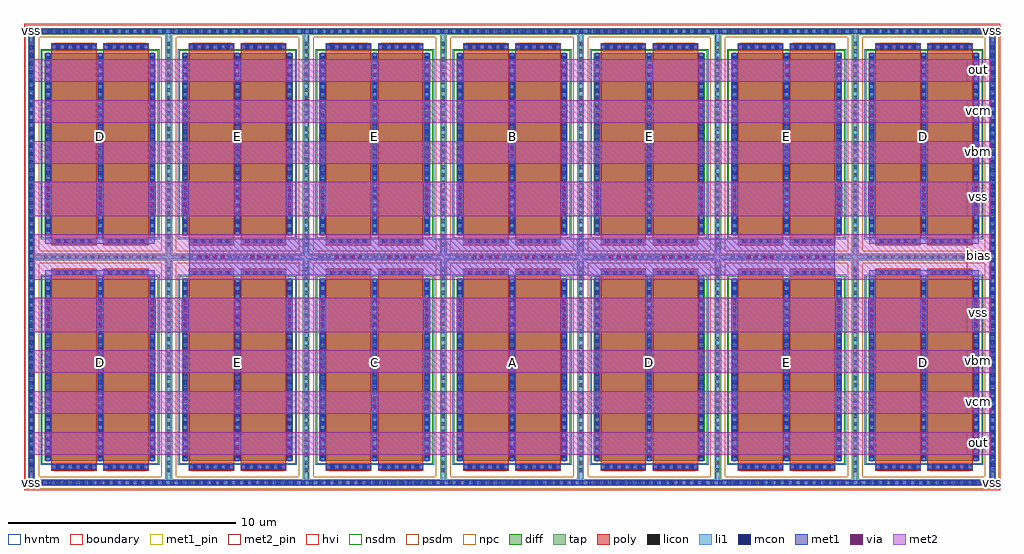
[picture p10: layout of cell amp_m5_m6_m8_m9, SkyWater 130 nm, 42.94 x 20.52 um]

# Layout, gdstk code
from math import pi, radians
import gdstk
lib = gdstk.Library(unit=1e-6, precision=1e-09)
def R(c, l, rs):  # rectangles x0, y0, x1, y1
    for r in rs: c.add(gdstk.rectangle(r[:2], r[2:], *l))
def A(c, l, x, y, w, h, nx, ny, dx, dy):  # array of equal rectangles
    R(c, l, [(x+i*dx, y+j*dy, x+i*dx+w, y+j*dy+h) for i in range(nx) for j in range(ny)])
def P(c, l, *ps):  # polygons
    for p in ps: c.add(gdstk.Polygon(p, *l))
diff = (65, 20)
tap = (65, 44)
poly = (66, 20)
licon = (66, 44)
li1 = (67, 20)
mcon = (67, 44)
met1_pin = (68, 16)
met1 = (68, 20)
via = (68, 44)
met2_pin = (69, 16)
met2 = (69, 20)
hvi = (75, 20)
nsdm = (93, 44)
psdm = (94, 20)
npc = (95, 20)
hvntm = (125, 20)
boundary = (235, 4)

via__li_m1 = lib.new_cell('via__LI_M1')
R(via__li_m1, li1, [(0.03,0.03,0.56,0.2)])
R(via__li_m1, mcon, [(0.03,0.03,0.2,0.2), (0.39,0.03,0.56,0.2)])
R(via__li_m1, met1, [(0,0,0.59,0.23)])

via__m1_m2 = lib.new_cell('via__M1_M2')
R(via__m1_m2, met1, [(0,0.05,0.7,0.35)])
R(via__m1_m2, via, [(0.115,0.125,0.265,0.275), (0.435,0.125,0.585,0.275)])
R(via__m1_m2, met2, [(0.05,0,0.65,0.4)])

sky130_fd_pr__nfet_g5v0d = lib.new_cell('sky130_fd_pr__nfet_g5v0d10v5_58GJTY')
R(sky130_fd_pr__nfet_g5v0d, diff, [(0.915,1.295,5.785,9.295)])
R(sky130_fd_pr__nfet_g5v0d, tap, [(0.185,0.185,6.515,0.475), (0.185,0.475,0.475,10.115), (6.225,0.475,6.515,10.115), (0.185,10.115,6.515,10.405)])
R(sky130_fd_pr__nfet_g5v0d, poly, [(1.205,0.855,3.205,9.735), (3.495,0.855,5.495,9.735)])
A(sky130_fd_pr__nfet_g5v0d, licon, 0.885, 0.245, 0.17, 0.17, 15, 2, 0.34, 9.93)
A(sky130_fd_pr__nfet_g5v0d, licon, 0.245, 0.79, 0.17, 0.17, 1, 27, 0, 0.34)
A(sky130_fd_pr__nfet_g5v0d, licon, 6.285, 0.79, 0.17, 0.17, 1, 27, 0, 0.34)
A(sky130_fd_pr__nfet_g5v0d, licon, 1.44, 0.935, 0.17, 0.17, 5, 2, 0.34, 8.55)
A(sky130_fd_pr__nfet_g5v0d, licon, 3.73, 0.935, 0.17, 0.17, 5, 2, 0.34, 8.55)
A(sky130_fd_pr__nfet_g5v0d, licon, 0.975, 1.47, 0.17, 0.17, 3, 23, 2.29, 0.34)
A(sky130_fd_pr__nfet_g5v0d, li1, 0.975, 1.275, 0.17, 8.04, 3, 1, 2.29, 0)
R(sky130_fd_pr__nfet_g5v0d, li1, [(0.245,0.245,6.455,0.415), (0.245,0.415,0.415,10.175), (6.285,0.415,6.455,10.175), (1.205,0.935,3.205,1.105), (3.495,0.935,5.495,1.105), (1.205,9.485,3.205,9.655), (3.495,9.485,5.495,9.655), (0.245,10.175,6.455,10.345)])
A(sky130_fd_pr__nfet_g5v0d, mcon, 1.4, 0.935, 0.17, 0.17, 5, 2, 0.36, 8.55)
A(sky130_fd_pr__nfet_g5v0d, mcon, 3.69, 0.935, 0.17, 0.17, 5, 2, 0.36, 8.55)
A(sky130_fd_pr__nfet_g5v0d, mcon, 0.975, 1.43, 0.17, 0.17, 3, 22, 2.29, 0.36)
A(sky130_fd_pr__nfet_g5v0d, met1, 0.945, 1.295, 0.23, 8, 3, 1, 2.29, 0)
R(sky130_fd_pr__nfet_g5v0d, met1, [(1.225,0.905,3.185,1.135), (3.515,0.905,5.475,1.135), (1.225,9.455,3.185,9.685), (3.515,9.455,5.475,9.685)])
R(sky130_fd_pr__nfet_g5v0d, hvi, [(0,0,6.7,10.59)])
R(sky130_fd_pr__nfet_g5v0d, nsdm, [(0.79,1.17,5.91,9.42)])
R(sky130_fd_pr__nfet_g5v0d, psdm, [(0.06,0.06,6.64,0.6), (0.06,0.6,0.66,9.99), (6.04,0.6,6.64,9.99), (0.06,9.99,6.64,10.53)])
R(sky130_fd_pr__nfet_g5v0d, npc, [(1.34,0.835,3.07,1.205), (3.63,0.835,5.36,1.205), (1.34,9.385,3.07,9.755), (3.63,9.385,5.36,9.755)])
R(sky130_fd_pr__nfet_g5v0d, hvntm, [(0.73,1.11,5.97,9.48)])
R(sky130_fd_pr__nfet_g5v0d, boundary, [(0.33,0.33,6.37,10.26)])

amp_m5_m6_m8_m9 = lib.new_cell('amp_m5_m6_m8_m9')
R(amp_m5_m6_m8_m9, met1_pin, [(0.215,0.215,0.445,0.445), (42.495,0.215,42.725,0.445), (0.215,20.075,0.445,20.305), (42.495,20.075,42.725,20.305)])
R(amp_m5_m6_m8_m9, met1, [(0.215,0.215,0.445,20.305), (0.215,0.215,42.725,0.445), (42.495,0.215,42.725,20.305), (21.355,9.295,21.585,9.455), (7.265,9.455,35.675,11.065), (0.215,20.075,42.725,20.305)])
P(amp_m5_m6_m8_m9, met1, [(5.475,10.835),(5.475,11.065),(5.525,11.065),(5.525,11.225),(5.755,11.225),(5.755,10.835)],
  [(41.715,10.835),(41.715,11.065),(41.765,11.065),(41.765,11.225),(41.995,11.225),(41.995,10.835)],
  [(3.185,10.835),(3.185,11.065),(3.235,11.065),(3.235,11.225),(3.465,11.225),(3.465,11.065),(3.515,11.065),(3.515,10.835)],
  [(39.425,10.835),(39.425,11.065),(39.475,11.065),(39.475,11.225),(39.705,11.225),(39.705,11.065),(39.755,11.065),(39.755,10.835)],
  [(0.945,10.835),(0.945,11.225),(1.175,11.225),(1.175,11.065),(1.225,11.065),(1.225,10.835)],
  [(37.185,10.835),(37.185,11.225),(37.415,11.225),(37.415,11.065),(37.465,11.065),(37.465,10.835)],
  [(5.525,9.295),(5.525,9.455),(5.475,9.455),(5.475,9.685),(5.755,9.685),(5.755,9.295)],
  [(29.685,9.295),(29.685,9.455),(29.635,9.455),(29.635,9.685),(29.915,9.685),(29.915,9.295)],
  [(41.765,9.295),(41.765,9.455),(41.715,9.455),(41.715,9.685),(41.995,9.685),(41.995,9.295)],
  [(3.235,9.295),(3.235,9.455),(3.185,9.455),(3.185,9.685),(3.515,9.685),(3.515,9.455),(3.465,9.455),(3.465,9.295)],
  [(27.395,9.295),(27.395,9.455),(27.345,9.455),(27.345,9.685),(27.675,9.685),(27.675,9.455),(27.625,9.455),(27.625,9.295)],
  [(39.475,9.295),(39.475,9.455),(39.425,9.455),(39.425,9.685),(39.755,9.685),(39.755,9.455),(39.705,9.455),(39.705,9.295)],
  [(0.945,9.295),(0.945,9.685),(1.225,9.685),(1.225,9.455),(1.175,9.455),(1.175,9.295)],
  [(25.105,9.295),(25.105,9.685),(25.385,9.685),(25.385,9.455),(25.335,9.455),(25.335,9.295)],
  [(37.185,9.295),(37.185,9.685),(37.465,9.685),(37.465,9.455),(37.415,9.455),(37.415,9.295)])
A(amp_m5_m6_m8_m9, met2_pin, 41.475, 1.56, 1.05, 1, 1, 3, 0, 1.8)
A(amp_m5_m6_m8_m9, met2_pin, 41.475, 14.36, 1.05, 1, 1, 3, 0, 1.8)
R(amp_m5_m6_m8_m9, met2_pin, [(41.475,6.96,42.525,8.46), (41.475,9.26,42.525,11.26), (41.475,12.06,42.525,13.56)])
A(amp_m5_m6_m8_m9, met2, 0.415, 1.56, 42.11, 1, 1, 3, 0, 1.8)
A(amp_m5_m6_m8_m9, met2, 0.415, 14.36, 42.11, 1, 1, 3, 0, 1.8)
R(amp_m5_m6_m8_m9, met2, [(0.415,6.96,42.525,8.46), (0.415,6.96,42.525,8.46), (0.415,9.26,42.525,11.26), (0.415,12.06,42.525,13.56), (0.415,12.06,42.525,13.56)])
amp_m5_m6_m8_m9.add(gdstk.Reference(via__li_m1, (0.215,1.59), rotation=3*pi/2))
amp_m5_m6_m8_m9.add(gdstk.Reference(via__li_m1, (42.495,1.59), rotation=3*pi/2))
amp_m5_m6_m8_m9.add(gdstk.Reference(via__li_m1, (0.215,2.31), rotation=3*pi/2))
amp_m5_m6_m8_m9.add(gdstk.Reference(via__li_m1, (42.495,2.31), rotation=3*pi/2))
amp_m5_m6_m8_m9.add(gdstk.Reference(via__li_m1, (0.215,3.03), rotation=3*pi/2))
amp_m5_m6_m8_m9.add(gdstk.Reference(via__li_m1, (42.495,3.03), rotation=3*pi/2))
amp_m5_m6_m8_m9.add(gdstk.Reference(via__li_m1, (0.215,3.75), rotation=3*pi/2))
amp_m5_m6_m8_m9.add(gdstk.Reference(via__li_m1, (42.495,3.75), rotation=3*pi/2))
amp_m5_m6_m8_m9.add(gdstk.Reference(via__li_m1, (0.215,4.47), rotation=3*pi/2))
amp_m5_m6_m8_m9.add(gdstk.Reference(via__li_m1, (42.495,4.47), rotation=3*pi/2))
amp_m5_m6_m8_m9.add(gdstk.Reference(via__li_m1, (0.215,5.19), rotation=3*pi/2))
amp_m5_m6_m8_m9.add(gdstk.Reference(via__li_m1, (42.495,5.19), rotation=3*pi/2))
amp_m5_m6_m8_m9.add(gdstk.Reference(via__li_m1, (0.215,5.91), rotation=3*pi/2))
amp_m5_m6_m8_m9.add(gdstk.Reference(via__li_m1, (42.495,5.91), rotation=3*pi/2))
amp_m5_m6_m8_m9.add(gdstk.Reference(via__li_m1, (0.215,6.63), rotation=3*pi/2))
amp_m5_m6_m8_m9.add(gdstk.Reference(via__li_m1, (42.495,6.63), rotation=3*pi/2))
amp_m5_m6_m8_m9.add(gdstk.Reference(via__li_m1, (0.215,7.35), rotation=3*pi/2))
amp_m5_m6_m8_m9.add(gdstk.Reference(via__li_m1, (42.495,7.35), rotation=3*pi/2))
amp_m5_m6_m8_m9.add(gdstk.Reference(via__li_m1, (0.215,8.07), rotation=3*pi/2))
amp_m5_m6_m8_m9.add(gdstk.Reference(via__li_m1, (42.495,8.07), rotation=3*pi/2))
amp_m5_m6_m8_m9.add(gdstk.Reference(via__li_m1, (0.215,8.79), rotation=3*pi/2))
amp_m5_m6_m8_m9.add(gdstk.Reference(via__li_m1, (42.495,8.79), rotation=3*pi/2))
amp_m5_m6_m8_m9.add(gdstk.Reference(via__li_m1, (0.215,9.51), rotation=3*pi/2))
amp_m5_m6_m8_m9.add(gdstk.Reference(via__li_m1, (42.495,9.51), rotation=3*pi/2))
amp_m5_m6_m8_m9.add(gdstk.Reference(via__li_m1, (0.215,10.23), rotation=3*pi/2))
amp_m5_m6_m8_m9.add(gdstk.Reference(via__li_m1, (42.495,10.23), rotation=3*pi/2))
amp_m5_m6_m8_m9.add(gdstk.Reference(via__li_m1, (0.215,10.95), rotation=3*pi/2))
amp_m5_m6_m8_m9.add(gdstk.Reference(via__li_m1, (42.495,10.95), rotation=3*pi/2))
amp_m5_m6_m8_m9.add(gdstk.Reference(via__li_m1, (0.215,11.67), rotation=3*pi/2))
amp_m5_m6_m8_m9.add(gdstk.Reference(via__li_m1, (42.495,11.67), rotation=3*pi/2))
amp_m5_m6_m8_m9.add(gdstk.Reference(via__li_m1, (0.215,12.39), rotation=3*pi/2))
amp_m5_m6_m8_m9.add(gdstk.Reference(via__li_m1, (42.495,12.39), rotation=3*pi/2))
amp_m5_m6_m8_m9.add(gdstk.Reference(via__li_m1, (0.215,13.11), rotation=3*pi/2))
amp_m5_m6_m8_m9.add(gdstk.Reference(via__li_m1, (42.495,13.11), rotation=3*pi/2))
amp_m5_m6_m8_m9.add(gdstk.Reference(via__li_m1, (0.215,13.83), rotation=3*pi/2))
amp_m5_m6_m8_m9.add(gdstk.Reference(via__li_m1, (42.495,13.83), rotation=3*pi/2))
amp_m5_m6_m8_m9.add(gdstk.Reference(via__li_m1, (0.215,14.55), rotation=3*pi/2))
amp_m5_m6_m8_m9.add(gdstk.Reference(via__li_m1, (42.495,14.55), rotation=3*pi/2))
amp_m5_m6_m8_m9.add(gdstk.Reference(via__li_m1, (0.215,15.27), rotation=3*pi/2))
amp_m5_m6_m8_m9.add(gdstk.Reference(via__li_m1, (42.495,15.27), rotation=3*pi/2))
amp_m5_m6_m8_m9.add(gdstk.Reference(via__li_m1, (0.215,15.99), rotation=3*pi/2))
amp_m5_m6_m8_m9.add(gdstk.Reference(via__li_m1, (42.495,15.99), rotation=3*pi/2))
amp_m5_m6_m8_m9.add(gdstk.Reference(via__li_m1, (0.215,16.71), rotation=3*pi/2))
amp_m5_m6_m8_m9.add(gdstk.Reference(via__li_m1, (42.495,16.71), rotation=3*pi/2))
amp_m5_m6_m8_m9.add(gdstk.Reference(via__li_m1, (0.215,17.43), rotation=3*pi/2))
amp_m5_m6_m8_m9.add(gdstk.Reference(via__li_m1, (42.495,17.43), rotation=3*pi/2))
amp_m5_m6_m8_m9.add(gdstk.Reference(via__li_m1, (0.215,18.15), rotation=3*pi/2))
amp_m5_m6_m8_m9.add(gdstk.Reference(via__li_m1, (42.495,18.15), rotation=3*pi/2))
amp_m5_m6_m8_m9.add(gdstk.Reference(via__li_m1, (0.215,18.87), rotation=3*pi/2))
amp_m5_m6_m8_m9.add(gdstk.Reference(via__li_m1, (42.495,18.87), rotation=3*pi/2))
amp_m5_m6_m8_m9.add(gdstk.Reference(via__li_m1, (0.215,19.59), rotation=3*pi/2))
amp_m5_m6_m8_m9.add(gdstk.Reference(via__li_m1, (42.495,19.59), rotation=3*pi/2))
amp_m5_m6_m8_m9.add(gdstk.Reference(via__li_m1, (0.645,0.215)))
amp_m5_m6_m8_m9.add(gdstk.Reference(via__li_m1, (1.365,0.215)))
amp_m5_m6_m8_m9.add(gdstk.Reference(via__li_m1, (2.085,0.215)))
amp_m5_m6_m8_m9.add(gdstk.Reference(via__li_m1, (2.805,0.215)))
amp_m5_m6_m8_m9.add(gdstk.Reference(via__li_m1, (3.525,0.215)))
amp_m5_m6_m8_m9.add(gdstk.Reference(via__li_m1, (4.245,0.215)))
amp_m5_m6_m8_m9.add(gdstk.Reference(via__li_m1, (4.965,0.215)))
amp_m5_m6_m8_m9.add(gdstk.Reference(via__li_m1, (5.685,0.215)))
amp_m5_m6_m8_m9.add(gdstk.Reference(via__li_m1, (6.405,0.215)))
amp_m5_m6_m8_m9.add(gdstk.Reference(via__li_m1, (7.125,0.215)))
amp_m5_m6_m8_m9.add(gdstk.Reference(via__li_m1, (7.845,0.215)))
amp_m5_m6_m8_m9.add(gdstk.Reference(via__li_m1, (8.565,0.215)))
amp_m5_m6_m8_m9.add(gdstk.Reference(via__li_m1, (9.285,0.215)))
amp_m5_m6_m8_m9.add(gdstk.Reference(via__li_m1, (10.005,0.215)))
amp_m5_m6_m8_m9.add(gdstk.Reference(via__li_m1, (10.725,0.215)))
amp_m5_m6_m8_m9.add(gdstk.Reference(via__li_m1, (11.445,0.215)))
amp_m5_m6_m8_m9.add(gdstk.Reference(via__li_m1, (12.165,0.215)))
amp_m5_m6_m8_m9.add(gdstk.Reference(via__li_m1, (12.885,0.215)))
amp_m5_m6_m8_m9.add(gdstk.Reference(via__li_m1, (13.605,0.215)))
amp_m5_m6_m8_m9.add(gdstk.Reference(via__li_m1, (14.325,0.215)))
amp_m5_m6_m8_m9.add(gdstk.Reference(via__li_m1, (15.045,0.215)))
amp_m5_m6_m8_m9.add(gdstk.Reference(via__li_m1, (15.765,0.215)))
amp_m5_m6_m8_m9.add(gdstk.Reference(via__li_m1, (16.485,0.215)))
amp_m5_m6_m8_m9.add(gdstk.Reference(via__li_m1, (17.205,0.215)))
amp_m5_m6_m8_m9.add(gdstk.Reference(via__li_m1, (17.925,0.215)))
amp_m5_m6_m8_m9.add(gdstk.Reference(via__li_m1, (18.645,0.215)))
amp_m5_m6_m8_m9.add(gdstk.Reference(via__li_m1, (19.365,0.215)))
amp_m5_m6_m8_m9.add(gdstk.Reference(via__li_m1, (20.085,0.215)))
amp_m5_m6_m8_m9.add(gdstk.Reference(via__li_m1, (20.805,0.215)))
amp_m5_m6_m8_m9.add(gdstk.Reference(via__li_m1, (21.525,0.215)))
amp_m5_m6_m8_m9.add(gdstk.Reference(via__li_m1, (22.245,0.215)))
amp_m5_m6_m8_m9.add(gdstk.Reference(via__li_m1, (22.965,0.215)))
amp_m5_m6_m8_m9.add(gdstk.Reference(via__li_m1, (23.685,0.215)))
amp_m5_m6_m8_m9.add(gdstk.Reference(via__li_m1, (24.405,0.215)))
amp_m5_m6_m8_m9.add(gdstk.Reference(via__li_m1, (25.125,0.215)))
amp_m5_m6_m8_m9.add(gdstk.Reference(via__li_m1, (25.845,0.215)))
amp_m5_m6_m8_m9.add(gdstk.Reference(via__li_m1, (26.565,0.215)))
amp_m5_m6_m8_m9.add(gdstk.Reference(via__li_m1, (27.285,0.215)))
amp_m5_m6_m8_m9.add(gdstk.Reference(via__li_m1, (28.005,0.215)))
amp_m5_m6_m8_m9.add(gdstk.Reference(via__li_m1, (28.725,0.215)))
amp_m5_m6_m8_m9.add(gdstk.Reference(via__li_m1, (29.445,0.215)))
amp_m5_m6_m8_m9.add(gdstk.Reference(via__li_m1, (30.165,0.215)))
amp_m5_m6_m8_m9.add(gdstk.Reference(via__li_m1, (30.885,0.215)))
amp_m5_m6_m8_m9.add(gdstk.Reference(via__li_m1, (31.605,0.215)))
amp_m5_m6_m8_m9.add(gdstk.Reference(via__li_m1, (32.325,0.215)))
amp_m5_m6_m8_m9.add(gdstk.Reference(via__li_m1, (33.045,0.215)))
amp_m5_m6_m8_m9.add(gdstk.Reference(via__li_m1, (33.765,0.215)))
amp_m5_m6_m8_m9.add(gdstk.Reference(via__li_m1, (34.485,0.215)))
amp_m5_m6_m8_m9.add(gdstk.Reference(via__li_m1, (35.205,0.215)))
amp_m5_m6_m8_m9.add(gdstk.Reference(via__li_m1, (35.925,0.215)))
amp_m5_m6_m8_m9.add(gdstk.Reference(via__li_m1, (36.645,0.215)))
amp_m5_m6_m8_m9.add(gdstk.Reference(via__li_m1, (37.365,0.215)))
amp_m5_m6_m8_m9.add(gdstk.Reference(via__li_m1, (38.085,0.215)))
amp_m5_m6_m8_m9.add(gdstk.Reference(via__li_m1, (38.805,0.215)))
amp_m5_m6_m8_m9.add(gdstk.Reference(via__li_m1, (39.525,0.215)))
amp_m5_m6_m8_m9.add(gdstk.Reference(via__li_m1, (40.245,0.215)))
amp_m5_m6_m8_m9.add(gdstk.Reference(via__li_m1, (40.965,0.215)))
amp_m5_m6_m8_m9.add(gdstk.Reference(via__li_m1, (41.685,0.215)))
amp_m5_m6_m8_m9.add(gdstk.Reference(via__li_m1, (0.645,20.075)))
amp_m5_m6_m8_m9.add(gdstk.Reference(via__li_m1, (1.365,20.075)))
amp_m5_m6_m8_m9.add(gdstk.Reference(via__li_m1, (2.085,20.075)))
amp_m5_m6_m8_m9.add(gdstk.Reference(via__li_m1, (2.805,20.075)))
amp_m5_m6_m8_m9.add(gdstk.Reference(via__li_m1, (3.525,20.075)))
amp_m5_m6_m8_m9.add(gdstk.Reference(via__li_m1, (4.245,20.075)))
amp_m5_m6_m8_m9.add(gdstk.Reference(via__li_m1, (4.965,20.075)))
amp_m5_m6_m8_m9.add(gdstk.Reference(via__li_m1, (5.685,20.075)))
amp_m5_m6_m8_m9.add(gdstk.Reference(via__li_m1, (6.405,20.075)))
amp_m5_m6_m8_m9.add(gdstk.Reference(via__li_m1, (7.125,20.075)))
amp_m5_m6_m8_m9.add(gdstk.Reference(via__li_m1, (7.845,20.075)))
amp_m5_m6_m8_m9.add(gdstk.Reference(via__li_m1, (8.565,20.075)))
amp_m5_m6_m8_m9.add(gdstk.Reference(via__li_m1, (9.285,20.075)))
amp_m5_m6_m8_m9.add(gdstk.Reference(via__li_m1, (10.005,20.075)))
amp_m5_m6_m8_m9.add(gdstk.Reference(via__li_m1, (10.725,20.075)))
amp_m5_m6_m8_m9.add(gdstk.Reference(via__li_m1, (11.445,20.075)))
amp_m5_m6_m8_m9.add(gdstk.Reference(via__li_m1, (12.165,20.075)))
amp_m5_m6_m8_m9.add(gdstk.Reference(via__li_m1, (12.885,20.075)))
amp_m5_m6_m8_m9.add(gdstk.Reference(via__li_m1, (13.605,20.075)))
amp_m5_m6_m8_m9.add(gdstk.Reference(via__li_m1, (14.325,20.075)))
amp_m5_m6_m8_m9.add(gdstk.Reference(via__li_m1, (15.045,20.075)))
amp_m5_m6_m8_m9.add(gdstk.Reference(via__li_m1, (15.765,20.075)))
amp_m5_m6_m8_m9.add(gdstk.Reference(via__li_m1, (16.485,20.075)))
amp_m5_m6_m8_m9.add(gdstk.Reference(via__li_m1, (17.205,20.075)))
amp_m5_m6_m8_m9.add(gdstk.Reference(via__li_m1, (17.925,20.075)))
amp_m5_m6_m8_m9.add(gdstk.Reference(via__li_m1, (18.645,20.075)))
amp_m5_m6_m8_m9.add(gdstk.Reference(via__li_m1, (19.365,20.075)))
amp_m5_m6_m8_m9.add(gdstk.Reference(via__li_m1, (20.085,20.075)))
amp_m5_m6_m8_m9.add(gdstk.Reference(via__li_m1, (20.805,20.075)))
amp_m5_m6_m8_m9.add(gdstk.Reference(via__li_m1, (21.525,20.075)))
amp_m5_m6_m8_m9.add(gdstk.Reference(via__li_m1, (22.245,20.075)))
amp_m5_m6_m8_m9.add(gdstk.Reference(via__li_m1, (22.965,20.075)))
amp_m5_m6_m8_m9.add(gdstk.Reference(via__li_m1, (23.685,20.075)))
amp_m5_m6_m8_m9.add(gdstk.Reference(via__li_m1, (24.405,20.075)))
amp_m5_m6_m8_m9.add(gdstk.Reference(via__li_m1, (25.125,20.075)))
amp_m5_m6_m8_m9.add(gdstk.Reference(via__li_m1, (25.845,20.075)))
amp_m5_m6_m8_m9.add(gdstk.Reference(via__li_m1, (26.565,20.075)))
amp_m5_m6_m8_m9.add(gdstk.Reference(via__li_m1, (27.285,20.075)))
amp_m5_m6_m8_m9.add(gdstk.Reference(via__li_m1, (28.005,20.075)))
amp_m5_m6_m8_m9.add(gdstk.Reference(via__li_m1, (28.725,20.075)))
amp_m5_m6_m8_m9.add(gdstk.Reference(via__li_m1, (29.445,20.075)))
amp_m5_m6_m8_m9.add(gdstk.Reference(via__li_m1, (30.165,20.075)))
amp_m5_m6_m8_m9.add(gdstk.Reference(via__li_m1, (30.885,20.075)))
amp_m5_m6_m8_m9.add(gdstk.Reference(via__li_m1, (31.605,20.075)))
amp_m5_m6_m8_m9.add(gdstk.Reference(via__li_m1, (32.325,20.075)))
amp_m5_m6_m8_m9.add(gdstk.Reference(via__li_m1, (33.045,20.075)))
amp_m5_m6_m8_m9.add(gdstk.Reference(via__li_m1, (33.765,20.075)))
amp_m5_m6_m8_m9.add(gdstk.Reference(via__li_m1, (34.485,20.075)))
amp_m5_m6_m8_m9.add(gdstk.Reference(via__li_m1, (35.205,20.075)))
amp_m5_m6_m8_m9.add(gdstk.Reference(via__li_m1, (35.925,20.075)))
amp_m5_m6_m8_m9.add(gdstk.Reference(via__li_m1, (36.645,20.075)))
amp_m5_m6_m8_m9.add(gdstk.Reference(via__li_m1, (37.365,20.075)))
amp_m5_m6_m8_m9.add(gdstk.Reference(via__li_m1, (38.085,20.075)))
amp_m5_m6_m8_m9.add(gdstk.Reference(via__li_m1, (38.805,20.075)))
amp_m5_m6_m8_m9.add(gdstk.Reference(via__li_m1, (39.525,20.075)))
amp_m5_m6_m8_m9.add(gdstk.Reference(via__li_m1, (40.245,20.075)))
amp_m5_m6_m8_m9.add(gdstk.Reference(via__li_m1, (40.965,20.075)))
amp_m5_m6_m8_m9.add(gdstk.Reference(via__li_m1, (41.685,20.075)))
amp_m5_m6_m8_m9.add(gdstk.Reference(via__m1_m2, (9.19,2.41), rotation=3*pi/2))
amp_m5_m6_m8_m9.add(gdstk.Reference(via__m1_m2, (33.35,2.41), rotation=3*pi/2))
amp_m5_m6_m8_m9.add(gdstk.Reference(via__m1_m2, (15.23,4.21), rotation=3*pi/2))
amp_m5_m6_m8_m9.add(gdstk.Reference(via__m1_m2, (0.86,7.71), rotation=3*pi/2))
amp_m5_m6_m8_m9.add(gdstk.Reference(via__m1_m2, (3.15,7.71), rotation=3*pi/2))
amp_m5_m6_m8_m9.add(gdstk.Reference(via__m1_m2, (5.44,7.71), rotation=3*pi/2))
amp_m5_m6_m8_m9.add(gdstk.Reference(via__m1_m2, (6.9,7.71), rotation=3*pi/2))
amp_m5_m6_m8_m9.add(gdstk.Reference(via__m1_m2, (11.48,7.71), rotation=3*pi/2))
amp_m5_m6_m8_m9.add(gdstk.Reference(via__m1_m2, (12.94,7.71), rotation=3*pi/2))
amp_m5_m6_m8_m9.add(gdstk.Reference(via__m1_m2, (17.52,7.71), rotation=3*pi/2))
amp_m5_m6_m8_m9.add(gdstk.Reference(via__m1_m2, (18.98,7.71), rotation=3*pi/2))
amp_m5_m6_m8_m9.add(gdstk.Reference(via__m1_m2, (23.56,7.71), rotation=3*pi/2))
amp_m5_m6_m8_m9.add(gdstk.Reference(via__m1_m2, (31.06,7.71), rotation=3*pi/2))
amp_m5_m6_m8_m9.add(gdstk.Reference(via__m1_m2, (35.64,7.71), rotation=3*pi/2))
amp_m5_m6_m8_m9.add(gdstk.Reference(via__m1_m2, (37.1,7.71), rotation=3*pi/2))
amp_m5_m6_m8_m9.add(gdstk.Reference(via__m1_m2, (39.39,7.71), rotation=3*pi/2))
amp_m5_m6_m8_m9.add(gdstk.Reference(via__m1_m2, (41.68,7.71), rotation=3*pi/2))
amp_m5_m6_m8_m9.add(gdstk.Reference(via__m1_m2, (0.86,8.41), rotation=3*pi/2))
amp_m5_m6_m8_m9.add(gdstk.Reference(via__m1_m2, (3.15,8.41), rotation=3*pi/2))
amp_m5_m6_m8_m9.add(gdstk.Reference(via__m1_m2, (5.44,8.41), rotation=3*pi/2))
amp_m5_m6_m8_m9.add(gdstk.Reference(via__m1_m2, (6.9,8.41), rotation=3*pi/2))
amp_m5_m6_m8_m9.add(gdstk.Reference(via__m1_m2, (11.48,8.41), rotation=3*pi/2))
amp_m5_m6_m8_m9.add(gdstk.Reference(via__m1_m2, (12.94,8.41), rotation=3*pi/2))
amp_m5_m6_m8_m9.add(gdstk.Reference(via__m1_m2, (17.52,8.41), rotation=3*pi/2))
amp_m5_m6_m8_m9.add(gdstk.Reference(via__m1_m2, (18.98,8.41), rotation=3*pi/2))
amp_m5_m6_m8_m9.add(gdstk.Reference(via__m1_m2, (23.56,8.41), rotation=3*pi/2))
amp_m5_m6_m8_m9.add(gdstk.Reference(via__m1_m2, (31.06,8.41), rotation=3*pi/2))
amp_m5_m6_m8_m9.add(gdstk.Reference(via__m1_m2, (35.64,8.41), rotation=3*pi/2))
amp_m5_m6_m8_m9.add(gdstk.Reference(via__m1_m2, (37.1,8.41), rotation=3*pi/2))
amp_m5_m6_m8_m9.add(gdstk.Reference(via__m1_m2, (39.39,8.41), rotation=3*pi/2))
amp_m5_m6_m8_m9.add(gdstk.Reference(via__m1_m2, (41.68,8.41), rotation=3*pi/2))
amp_m5_m6_m8_m9.add(gdstk.Reference(via__m1_m2, (0.86,12.81), rotation=3*pi/2))
amp_m5_m6_m8_m9.add(gdstk.Reference(via__m1_m2, (3.15,12.81), rotation=3*pi/2))
amp_m5_m6_m8_m9.add(gdstk.Reference(via__m1_m2, (5.44,12.81), rotation=3*pi/2))
amp_m5_m6_m8_m9.add(gdstk.Reference(via__m1_m2, (6.9,12.81), rotation=3*pi/2))
amp_m5_m6_m8_m9.add(gdstk.Reference(via__m1_m2, (11.48,12.81), rotation=3*pi/2))
amp_m5_m6_m8_m9.add(gdstk.Reference(via__m1_m2, (12.94,12.81), rotation=3*pi/2))
amp_m5_m6_m8_m9.add(gdstk.Reference(via__m1_m2, (17.52,12.81), rotation=3*pi/2))
amp_m5_m6_m8_m9.add(gdstk.Reference(via__m1_m2, (18.98,12.81), rotation=3*pi/2))
amp_m5_m6_m8_m9.add(gdstk.Reference(via__m1_m2, (23.56,12.81), rotation=3*pi/2))
amp_m5_m6_m8_m9.add(gdstk.Reference(via__m1_m2, (25.02,12.81), rotation=3*pi/2))
amp_m5_m6_m8_m9.add(gdstk.Reference(via__m1_m2, (29.6,12.81), rotation=3*pi/2))
amp_m5_m6_m8_m9.add(gdstk.Reference(via__m1_m2, (31.06,12.81), rotation=3*pi/2))
amp_m5_m6_m8_m9.add(gdstk.Reference(via__m1_m2, (35.64,12.81), rotation=3*pi/2))
amp_m5_m6_m8_m9.add(gdstk.Reference(via__m1_m2, (37.1,12.81), rotation=3*pi/2))
amp_m5_m6_m8_m9.add(gdstk.Reference(via__m1_m2, (39.39,12.81), rotation=3*pi/2))
amp_m5_m6_m8_m9.add(gdstk.Reference(via__m1_m2, (41.68,12.81), rotation=3*pi/2))
amp_m5_m6_m8_m9.add(gdstk.Reference(via__m1_m2, (0.86,13.51), rotation=3*pi/2))
amp_m5_m6_m8_m9.add(gdstk.Reference(via__m1_m2, (3.15,13.51), rotation=3*pi/2))
amp_m5_m6_m8_m9.add(gdstk.Reference(via__m1_m2, (5.44,13.51), rotation=3*pi/2))
amp_m5_m6_m8_m9.add(gdstk.Reference(via__m1_m2, (6.9,13.51), rotation=3*pi/2))
amp_m5_m6_m8_m9.add(gdstk.Reference(via__m1_m2, (11.48,13.51), rotation=3*pi/2))
amp_m5_m6_m8_m9.add(gdstk.Reference(via__m1_m2, (12.94,13.51), rotation=3*pi/2))
amp_m5_m6_m8_m9.add(gdstk.Reference(via__m1_m2, (17.52,13.51), rotation=3*pi/2))
amp_m5_m6_m8_m9.add(gdstk.Reference(via__m1_m2, (18.98,13.51), rotation=3*pi/2))
amp_m5_m6_m8_m9.add(gdstk.Reference(via__m1_m2, (23.56,13.51), rotation=3*pi/2))
amp_m5_m6_m8_m9.add(gdstk.Reference(via__m1_m2, (25.02,13.51), rotation=3*pi/2))
amp_m5_m6_m8_m9.add(gdstk.Reference(via__m1_m2, (29.6,13.51), rotation=3*pi/2))
amp_m5_m6_m8_m9.add(gdstk.Reference(via__m1_m2, (31.06,13.51), rotation=3*pi/2))
amp_m5_m6_m8_m9.add(gdstk.Reference(via__m1_m2, (35.64,13.51), rotation=3*pi/2))
amp_m5_m6_m8_m9.add(gdstk.Reference(via__m1_m2, (37.1,13.51), rotation=3*pi/2))
amp_m5_m6_m8_m9.add(gdstk.Reference(via__m1_m2, (39.39,13.51), rotation=3*pi/2))
amp_m5_m6_m8_m9.add(gdstk.Reference(via__m1_m2, (41.68,13.51), rotation=3*pi/2))
amp_m5_m6_m8_m9.add(gdstk.Reference(via__m1_m2, (21.27,15.21), rotation=3*pi/2))
amp_m5_m6_m8_m9.add(gdstk.Reference(via__m1_m2, (9.19,18.81), rotation=3*pi/2))
amp_m5_m6_m8_m9.add(gdstk.Reference(via__m1_m2, (15.23,18.81), rotation=3*pi/2))
amp_m5_m6_m8_m9.add(gdstk.Reference(via__m1_m2, (27.31,18.81), rotation=3*pi/2))
amp_m5_m6_m8_m9.add(gdstk.Reference(via__m1_m2, (33.35,18.81), rotation=3*pi/2))
amp_m5_m6_m8_m9.add(gdstk.Reference(via__m1_m2, (8.245,10.46), rotation=pi))
amp_m5_m6_m8_m9.add(gdstk.Reference(via__m1_m2, (8.945,10.46), rotation=pi))
amp_m5_m6_m8_m9.add(gdstk.Reference(via__m1_m2, (10.535,10.46), rotation=pi))
amp_m5_m6_m8_m9.add(gdstk.Reference(via__m1_m2, (11.235,10.46), rotation=pi))
amp_m5_m6_m8_m9.add(gdstk.Reference(via__m1_m2, (14.285,10.46), rotation=pi))
amp_m5_m6_m8_m9.add(gdstk.Reference(via__m1_m2, (14.985,10.46), rotation=pi))
amp_m5_m6_m8_m9.add(gdstk.Reference(via__m1_m2, (16.575,10.46), rotation=pi))
amp_m5_m6_m8_m9.add(gdstk.Reference(via__m1_m2, (17.275,10.46), rotation=pi))
amp_m5_m6_m8_m9.add(gdstk.Reference(via__m1_m2, (20.325,10.46), rotation=pi))
amp_m5_m6_m8_m9.add(gdstk.Reference(via__m1_m2, (21.025,10.46), rotation=pi))
amp_m5_m6_m8_m9.add(gdstk.Reference(via__m1_m2, (22.615,10.46), rotation=pi))
amp_m5_m6_m8_m9.add(gdstk.Reference(via__m1_m2, (23.315,10.46), rotation=pi))
amp_m5_m6_m8_m9.add(gdstk.Reference(via__m1_m2, (26.365,10.46), rotation=pi))
amp_m5_m6_m8_m9.add(gdstk.Reference(via__m1_m2, (27.065,10.46), rotation=pi))
amp_m5_m6_m8_m9.add(gdstk.Reference(via__m1_m2, (28.655,10.46), rotation=pi))
amp_m5_m6_m8_m9.add(gdstk.Reference(via__m1_m2, (29.355,10.46), rotation=pi))
amp_m5_m6_m8_m9.add(gdstk.Reference(via__m1_m2, (32.405,10.46), rotation=pi))
amp_m5_m6_m8_m9.add(gdstk.Reference(via__m1_m2, (33.105,10.46), rotation=pi))
amp_m5_m6_m8_m9.add(gdstk.Reference(via__m1_m2, (34.695,10.46), rotation=pi))
amp_m5_m6_m8_m9.add(gdstk.Reference(via__m1_m2, (35.395,10.46), rotation=pi))
r = gdstk.Reference(sky130_fd_pr__nfet_g5v0d, (0,0)); r.repetition = gdstk.Repetition(7, 2, v1=(6.04,0), v2=(0,9.93)); amp_m5_m6_m8_m9.add(r)
amp_m5_m6_m8_m9.add(gdstk.Label('B', (21.47,15.56), layer=83, texttype=44))
amp_m5_m6_m8_m9.add(gdstk.Label('A', (21.47,5.63), layer=83, texttype=44))
amp_m5_m6_m8_m9.add(gdstk.Label('C', (15.43,5.63), layer=83, texttype=44))
amp_m5_m6_m8_m9.add(gdstk.Label('E', (9.39,5.63), layer=83, texttype=44))
amp_m5_m6_m8_m9.add(gdstk.Label('E', (33.55,5.63), layer=83, texttype=44))
amp_m5_m6_m8_m9.add(gdstk.Label('E', (9.39,15.56), layer=83, texttype=44))
amp_m5_m6_m8_m9.add(gdstk.Label('E', (15.43,15.56), layer=83, texttype=44))
amp_m5_m6_m8_m9.add(gdstk.Label('E', (27.51,15.56), layer=83, texttype=44))
amp_m5_m6_m8_m9.add(gdstk.Label('E', (33.55,15.56), layer=83, texttype=44))
amp_m5_m6_m8_m9.add(gdstk.Label('D', (3.35,5.63), layer=83, texttype=44))
amp_m5_m6_m8_m9.add(gdstk.Label('D', (27.51,5.63), layer=83, texttype=44))
amp_m5_m6_m8_m9.add(gdstk.Label('D', (39.59,5.63), layer=83, texttype=44))
amp_m5_m6_m8_m9.add(gdstk.Label('D', (3.35,15.56), layer=83, texttype=44))
amp_m5_m6_m8_m9.add(gdstk.Label('D', (39.59,15.56), layer=83, texttype=44))
amp_m5_m6_m8_m9.add(gdstk.Label('vcm', (41.995,3.92), layer=69, texttype=5))
amp_m5_m6_m8_m9.add(gdstk.Label('vcm', (41.995,16.72), layer=69, texttype=5))
amp_m5_m6_m8_m9.add(gdstk.Label('out', (41.995,2.12), layer=69, texttype=5))
amp_m5_m6_m8_m9.add(gdstk.Label('out', (41.995,18.52), layer=69, texttype=5))
amp_m5_m6_m8_m9.add(gdstk.Label('vbm', (41.995,5.72), layer=69, texttype=5))
amp_m5_m6_m8_m9.add(gdstk.Label('vbm', (41.995,14.92), layer=69, texttype=5))
amp_m5_m6_m8_m9.add(gdstk.Label('vss', (41.995,7.815), layer=69, texttype=5))
amp_m5_m6_m8_m9.add(gdstk.Label('vss', (41.995,12.915), layer=69, texttype=5))
amp_m5_m6_m8_m9.add(gdstk.Label('bias', (42.01,10.345), layer=69, texttype=5))
amp_m5_m6_m8_m9.add(gdstk.Label('vss', (0.33,0.355), layer=68, texttype=5))
amp_m5_m6_m8_m9.add(gdstk.Label('vss', (42.61,0.355), layer=68, texttype=5))
amp_m5_m6_m8_m9.add(gdstk.Label('vss', (0.33,20.215), layer=68, texttype=5))
amp_m5_m6_m8_m9.add(gdstk.Label('vss', (42.61,20.215), layer=68, texttype=5))

lib.write_gds('amp_m5_m6_m8_m9.gds')
